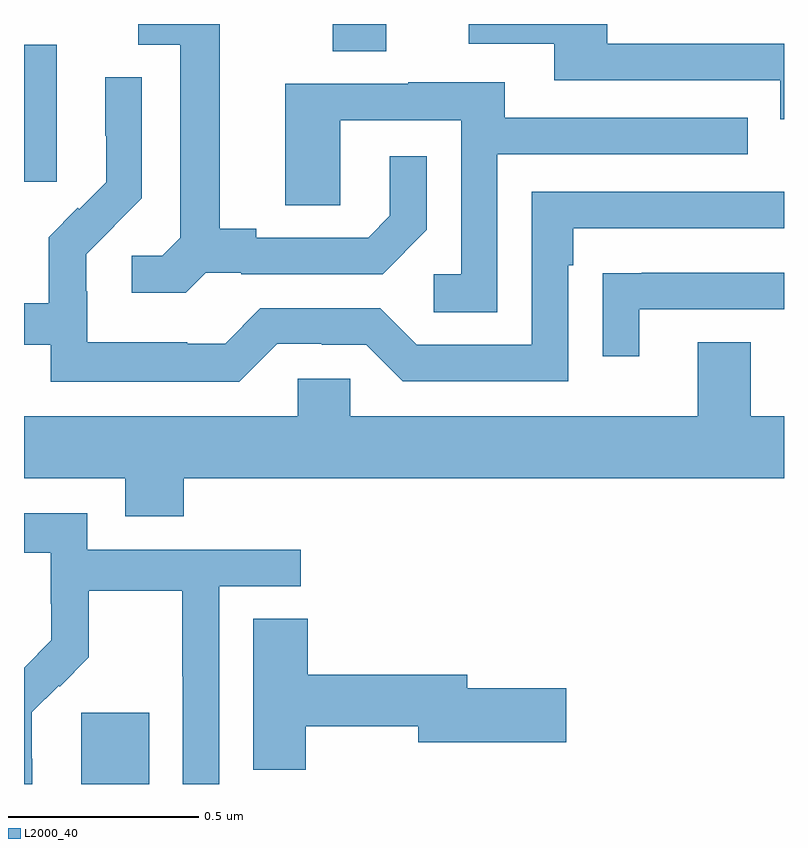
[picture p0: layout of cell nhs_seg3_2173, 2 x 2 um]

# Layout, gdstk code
import gdstk
lib = gdstk.Library(unit=1e-6, precision=1e-09)
def R(c, l, rs):  # rectangles x0, y0, x1, y1
    for r in rs: c.add(gdstk.rectangle(r[:2], r[2:], *l))
def P(c, l, *ps):  # polygons
    for p in ps: c.add(gdstk.Polygon(p, *l))
L2000_40 = (2000, 40)

nhs_seg3_2173 = lib.new_cell('nhs_seg3_2173')
R(nhs_seg3_2173, L2000_40, [(137.15,745.4,137.329,745.587), (137,746.985,137.086,747.346), (137.813,747.328,137.953,747.4)])
P(nhs_seg3_2173, L2000_40, [(139,747.348),(138.535,747.348),(138.535,747.4),(138.171,747.4),(138.171,747.348),(138.395,747.348),(138.395,747.252),(138.99,747.252),(138.99,747.149),(139,747.149)],
  [(137.478,746.745),(137.572,746.745),(137.572,746.742),(137.944,746.742),(138.06,746.858),(138.06,747.052),(137.963,747.052),(137.963,746.895),(137.906,746.838),(137.611,746.838),(137.611,746.861),(137.515,746.861),(137.515,747.4),(137.301,747.4),(137.301,747.345),(137.411,747.345),(137.411,746.837),(137.364,746.79),(137.283,746.79),(137.283,746.693),(137.426,746.693)],
  [(137.667,746.559),(137.783,746.559),(137.783,746.556),(137.901,746.556),(137.997,746.46),(138.432,746.46),(138.432,746.765),(138.445,746.765),(138.445,746.862),(139,746.862),(139,746.958),(138.336,746.958),(138.336,746.556),(138.033,746.556),(137.937,746.652),(137.622,746.652),(137.529,746.559),(137.429,746.559),(137.429,746.563),(137.166,746.563),(137.166,746.697),(137.164,746.697),(137.164,746.794),(137.238,746.868),(137.237,746.869),(137.31,746.942),(137.31,747.26),(137.214,747.26),(137.214,747.106),(137.216,747.106),(137.216,746.984),(137.145,746.913),(137.142,746.916),(137.065,746.839),(137.065,746.665),(137,746.665),(137,746.556),(137.07,746.556),(137.07,746.459),(137.567,746.459)],
  [(138.246,747.057),(138.905,747.057),(138.905,747.153),(138.265,747.153),(138.265,747.247),(138.011,747.247),(138.011,747.243),(137.687,747.243),(137.687,746.923),(137.832,746.923),(137.832,747.147),(138.15,747.147),(138.15,746.742),(138.078,746.742),(138.078,746.641),(138.246,746.641)],
  [(138.619,746.649),(139,746.649),(139,746.745),(138.625,746.745),(138.625,746.744),(138.523,746.744),(138.523,746.526),(138.619,746.526)],
  [(137.42,746.204),(139,746.204),(139,746.368),(138.913,746.368),(138.913,746.563),(138.773,746.563),(138.773,746.368),(137.859,746.368),(137.859,746.466),(137.721,746.466),(137.721,746.368),(137,746.368),(137,746.204),(137.267,746.204),(137.267,746.105),(137.42,746.105)],
  [(137.022,745.466),(137.021,745.466),(137.021,745.589),(137.091,745.659),(137.094,745.656),(137.171,745.733),(137.171,745.908),(137.416,745.908),(137.416,745.684),(137.418,745.684),(137.418,745.4),(137.514,745.4),(137.514,745.92),(137.728,745.92),(137.728,746.016),(137.166,746.016),(137.166,746.113),(137,746.113),(137,746.009),(137.07,746.009),(137.07,745.875),(137.072,745.875),(137.072,745.778),(137,745.706),(137,745.4),(137.022,745.4)],
  [(137.742,745.552),(138.038,745.552),(138.038,745.51),(138.427,745.51),(138.427,745.652),(138.166,745.652),(138.166,745.688),(137.747,745.688),(137.747,745.835),(137.603,745.835),(137.603,745.438),(137.742,745.438)])

lib.write_gds('nhs_seg3_2173.gds')
